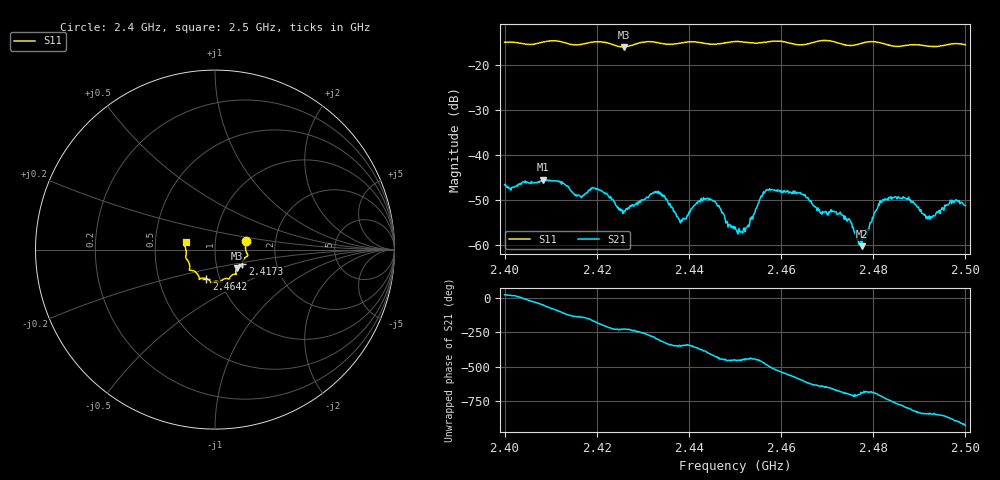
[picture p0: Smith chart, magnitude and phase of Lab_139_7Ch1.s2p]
# Hz S RI R 50
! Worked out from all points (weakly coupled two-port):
!   601 points, 2.4 GHz to 2.5 GHz, reference 50 ohm
!   highest |S21| = -45.44 dB at 2.4083 GHz (marker M1); lowest = -60.3 dB at 2.4775 GHz (marker M2)
!   lowest |S11| = -15.9 dB at 2.4258 GHz (marker M3), VSWR 1.38, Z = 62.3 - j13.2 ohm
!   |S11| at or under -10 dB: start of sweep to end of sweep
!   S12 and S22 are empty: the file has one direction only
!   S11 on the Smith chart (normalised r, x): 2.4 GHz: 1.41, +0.14; 2.4173 GHz: 1.34, -0.23; 2.4642 GHz: 0.86, -0.29; 2.5 GHz: 0.72, +0.06
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2.4e9  0.1731 0.0497  0.00435 0.00168  0 0  0 0
2.408333e9  0.1795 -0.0237  0.0033 -0.00421  0 0  0 0
2.416667e9  0.1529 -0.0749  -0.0027 -0.00199  0 0  0 0
2.417333e9  0.1522 -0.0824  -0.00294 -0.00217  0 0  0 0
2.4205e9  0.1546 -0.0967  -0.00404 0.000535  0 0  0 0
2.425833e9  0.1216 -0.1035  -0.0016 0.00177  0 0  0 0
2.433333e9  0.1128 -0.1367  0.0021 0.00336  0 0  0 0
2.438167e9  0.0826 -0.1555  0.00174 0.000243  0 0  0 0
2.445e9  0.0555 -0.1618  0.00183 -0.00258  0 0  0 0
2.45e9  0.0297 -0.1809  -6.23e-05 -0.00159  0 0  0 0
2.452667e9  0.0196 -0.1779  0.000138 -0.00159  0 0  0 0
2.457e9  -0.0136 -0.1811  -0.00252 -0.00323  0 0  0 0
2.464167e9  -0.0482 -0.1611  -0.00231 0.00306  0 0  0 0
2.466667e9  -0.0763 -0.1598  -0.000191 0.00288  0 0  0 0
2.473333e9  -0.0928 -0.143  0.00175 0.00124  0 0  0 0
2.4775e9  -0.1314 -0.1162  0.000837 0.000491  0 0  0 0
2.481167e9  -0.1424 -0.1084  0.00279 0.000689  0 0  0 0
2.483333e9  -0.141 -0.0894  0.00319 -0.00115  0 0  0 0
2.4875e9  -0.1581 -0.0534  0.000575 -0.00318  0 0  0 0
2.492e9  -0.1607 -0.0253  -0.000946 -0.00174  0 0  0 0
2.497167e9  -0.1707 0.0275  -0.00292 -0.00109  0 0  0 0
2.5e9  -0.1635 0.0417  -0.00247 0.00117  0 0  0 0
